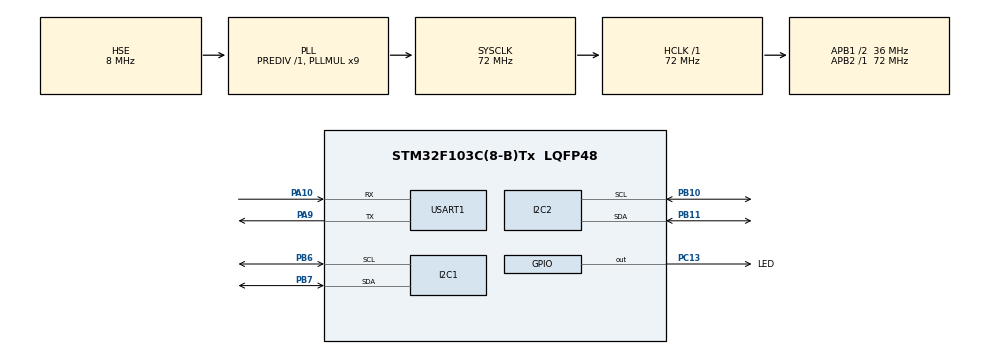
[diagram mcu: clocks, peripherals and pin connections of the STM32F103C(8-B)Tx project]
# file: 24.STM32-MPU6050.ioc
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Dma.Request0=USART1_TX
Dma.USART1_TX.0.Direction=DMA_MEMORY_TO_PERIPH
Dma.USART1_TX.0.Instance=DMA1_Channel4
Dma.USART1_TX.0.MemDataAlignment=DMA_MDATAALIGN_BYTE
Dma.USART1_TX.0.MemInc=DMA_MINC_ENABLE
Dma.USART1_TX.0.Mode=DMA_NORMAL
Dma.USART1_TX.0.PeriphDataAlignment=DMA_PDATAALIGN_BYTE
Dma.USART1_TX.0.PeriphInc=DMA_PINC_DISABLE
Dma.USART1_TX.0.Priority=DMA_PRIORITY_LOW
I2C1.I2C_Mode=I2C_Fast
Mcu.Family=STM32F1
Mcu.Name=STM32F103C(8-B)Tx
Mcu.Package=LQFP48
NVIC.DMA1_Channel4_IRQn=true\:0\:0\:false\:false\:true\:false\:true\:true
NVIC.PriorityGroup=NVIC_PRIORITYGROUP_4
NVIC.USART1_IRQn=true\:0\:0\:false\:false\:true\:true\:true\:true
PA10.Mode=Asynchronous
PA10.Signal=USART1_RX
PA13.Mode=Serial_Wire
PA13.Signal=SYS_JTMS-SWDIO
PA14.Mode=Serial_Wire
PA14.Signal=SYS_JTCK-SWCLK
PA9.Mode=Asynchronous
PA9.Signal=USART1_TX
PB10.Mode=I2C
PB10.Signal=I2C2_SCL
PB11.Mode=I2C
PB11.Signal=I2C2_SDA
PB6.Mode=I2C
PB6.Signal=I2C1_SCL
PB7.Mode=I2C
PB7.Signal=I2C1_SDA
PC13-TAMPER-RTC.GPIO_Label=LED
PC13-TAMPER-RTC.GPIO_Speed=GPIO_SPEED_FREQ_HIGH
PC13-TAMPER-RTC.Signal=GPIO_Output
PD0-OSC_IN.Mode=HSE-External-Oscillator
PD0-OSC_IN.Signal=RCC_OSC_IN
PD1-OSC_OUT.Mode=HSE-External-Oscillator
PD1-OSC_OUT.Signal=RCC_OSC_OUT
ProjectManager.HeapSize=0x200
ProjectManager.StackSize=0x400
ProjectManager.TargetToolchain=MDK-ARM V5.32
RCC.AHBFreq_Value=72000000
RCC.APB1CLKDivider=RCC_HCLK_DIV2
RCC.APB1Freq_Value=36000000
RCC.APB1TimFreq_Value=72000000
RCC.APB2Freq_Value=72000000
RCC.APB2TimFreq_Value=72000000
RCC.HCLKFreq_Value=72000000
RCC.PLLMUL=RCC_PLL_MUL9
RCC.PLLSourceVirtual=RCC_PLLSOURCE_HSE
RCC.SYSCLKFreq_VALUE=72000000
RCC.SYSCLKSource=RCC_SYSCLKSOURCE_PLLCLK
RCC.USBFreq_Value=72000000
USART1.VirtualMode=VM_ASYNC
board=custom

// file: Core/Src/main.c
/* USER CODE BEGIN Header */
/**
  ******************************************************************************
  * @file           : main.c
  * @brief          : Main program body
  ******************************************************************************
  * @attention
  *
  * Copyright (c) 2025 STMicroelectronics.
  * All rights reserved.
  *
  * This software is licensed under terms that can be found in the LICENSE file
  * in the root directory of this software component.
  * If no LICENSE file comes with this software, it is provided AS-IS.
  *
  ******************************************************************************
  */
/* USER CODE END Header */
#include "main.h"
#include "dma.h"
#include "i2c.h"
#include "usart.h"
#include "gpio.h"

/* USER CODE BEGIN Includes */
#include "oled.h"
#include "mpu6050.h"
#include "stdlib.h"
#include "stdio.h"
#include "string.h"

/* USER CODE END Includes */

void SystemClock_Config(void);

/* USER CODE BEGIN 0 */
MPU6050_t mpu6050;
char msg[64];
int num = 1;
/* USER CODE END 0 */

int main(void)
{

  /* MCU Configuration--------------------------------------------------------*/

  /* Reset of all peripherals, Initializes the Flash interface and the Systick. */
  HAL_Init();

  /* Configure the system clock */
  SystemClock_Config();

  /* Initialize all configured peripherals */
  MX_GPIO_Init();
  MX_DMA_Init();
  MX_I2C1_Init();
  MX_I2C2_Init();
  MX_USART1_UART_Init();
  /* USER CODE BEGIN 2 */
	OLED_Init();
	while(MPU6050_Init(&hi2c1))
	{
		HAL_GPIO_TogglePin(LED_GPIO_Port,LED_Pin);
		HAL_Delay(499);
	}

	HAL_Delay(999);
  /* USER CODE END 2 */

  /* Infinite loop */
  /* USER CODE BEGIN WHILE */
  while (1)
  {
		MPU6050_Read_All(&hi2c1,&mpu6050);
    OLED_NewFrame();
		OLED_PrintString(45,2,"MENU!",&font15x15,OLED_COLOR_NORMAL);
		sprintf(msg,"AngleX:%.2lf",mpu6050.KalmanAngleX);
		OLED_PrintString(0,17,msg,&font15x15,OLED_COLOR_NORMAL);
		sprintf(msg,"AngleY:%.2lf",mpu6050.KalmanAngleY);
		OLED_PrintString(0,32,msg,&font15x15,OLED_COLOR_NORMAL);
		sprintf(msg,"AngleZ:%.2lf",mpu6050.KalmanAngleZ);
		OLED_PrintString(0,47,msg,&font15x15,OLED_COLOR_NORMAL);

		OLED_ShowFrame();
		sprintf(msg,"%d,%d,%d\n",(int)mpu6050.KalmanAngleX,(int)mpu6050.KalmanAngleY,(int)mpu6050.KalmanAngleZ);
		HAL_UART_Transmit_DMA(&huart1,(uint8_t*)msg,strlen(msg));
		HAL_Delay(1);
    /* USER CODE END WHILE */

  }
}

void SystemClock_Config(void)
{
  RCC_OscInitTypeDef RCC_OscInitStruct = {0};
  RCC_ClkInitTypeDef RCC_ClkInitStruct = {0};

  /** Initializes the RCC Oscillators according to the specified parameters
  * in the RCC_OscInitTypeDef structure.
  */
  RCC_OscInitStruct.OscillatorType = RCC_OSCILLATORTYPE_HSE;
  RCC_OscInitStruct.HSEState = RCC_HSE_ON;
  RCC_OscInitStruct.HSEPredivValue = RCC_HSE_PREDIV_DIV1;
  RCC_OscInitStruct.HSIState = RCC_HSI_ON;
  RCC_OscInitStruct.PLL.PLLState = RCC_PLL_ON;
  RCC_OscInitStruct.PLL.PLLSource = RCC_PLLSOURCE_HSE;
  RCC_OscInitStruct.PLL.PLLMUL = RCC_PLL_MUL9;
  if (HAL_RCC_OscConfig(&RCC_OscInitStruct) != HAL_OK)
  {
    Error_Handler();
  }

  /** Initializes the CPU, AHB and APB buses clocks
  */
  RCC_ClkInitStruct.ClockType = RCC_CLOCKTYPE_HCLK|RCC_CLOCKTYPE_SYSCLK
                              |RCC_CLOCKTYPE_PCLK1|RCC_CLOCKTYPE_PCLK2;
  RCC_ClkInitStruct.SYSCLKSource = RCC_SYSCLKSOURCE_PLLCLK;
  RCC_ClkInitStruct.AHBCLKDivider = RCC_SYSCLK_DIV1;
  RCC_ClkInitStruct.APB1CLKDivider = RCC_HCLK_DIV2;
  RCC_ClkInitStruct.APB2CLKDivider = RCC_HCLK_DIV1;

  if (HAL_RCC_ClockConfig(&RCC_ClkInitStruct, FLASH_LATENCY_2) != HAL_OK)
  {
    Error_Handler();
  }
}

void Error_Handler(void)
{
  __disable_irq();
  while (1)
  {
  }
}
